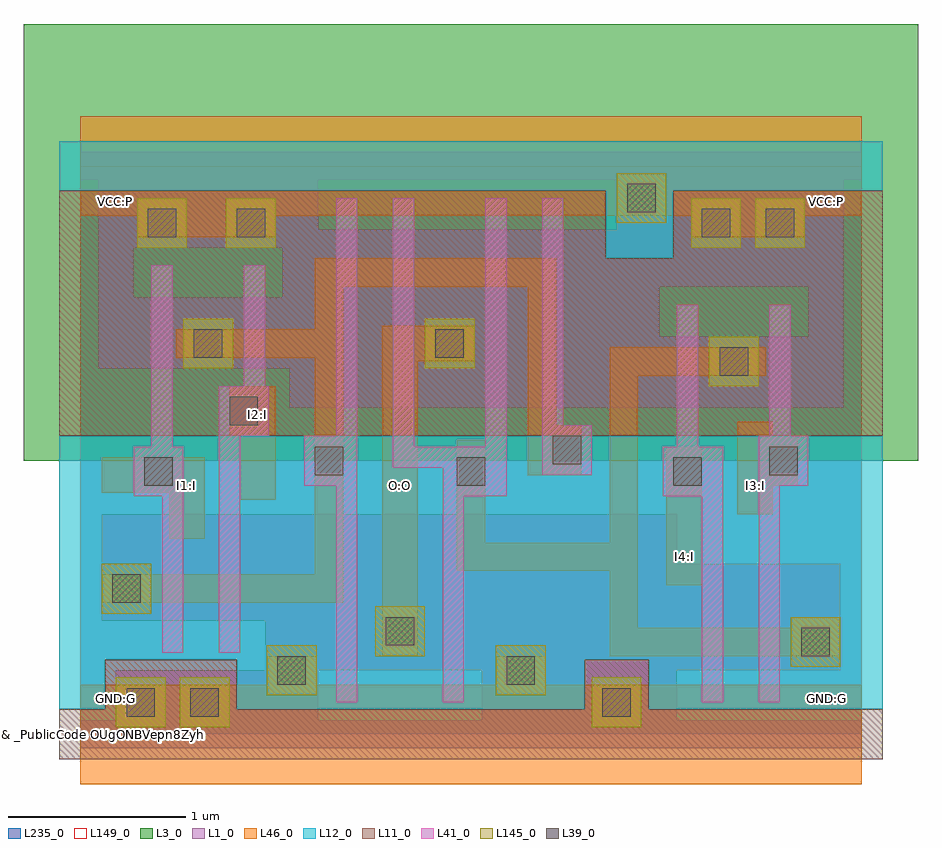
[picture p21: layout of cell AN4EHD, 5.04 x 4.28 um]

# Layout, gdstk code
from math import pi, radians
import gdstk
lib = gdstk.Library(unit=1e-6, precision=1e-09)
def R(c, l, rs):  # rectangles x0, y0, x1, y1
    for r in rs: c.add(gdstk.rectangle(r[:2], r[2:], *l))
def P(c, l, *ps):  # polygons
    for p in ps: c.add(gdstk.Polygon(p, *l))
L1_0 = (1, 0)
L3_0 = (3, 0)
L11_0 = (11, 0)
L12_0 = (12, 0)
L39_0 = (39, 0)
L41_0 = (41, 0)
L46_0 = (46, 0)
L145_0 = (145, 0)
L149_0 = (149, 0)
L235_0 = (235, 0)

c_mc = lib.new_cell('MC')
R(c_mc, L39_0, [(-0.08,-0.08,0.08,0.08)])
R(c_mc, L46_0, [(-0.08,-0.14,0.08,0.14)])
R(c_mc, L145_0, [(-0.14,-0.14,0.14,0.14)])

c_pc = lib.new_cell('PC')
R(c_pc, L39_0, [(-0.08,-0.08,0.08,0.08)])
R(c_pc, L41_0, [(-0.14,-0.14,0.14,0.14)])
R(c_pc, L46_0, [(-0.08,-0.14,0.08,0.14)])

ailenmajaad__41gum4xw0 = lib.new_cell('AILENMAJAAD$$41Gum4XW0')
R(ailenmajaad__41gum4xw0, L1_0, [(0,-0.08,4.4,0.08), (0.2,0.08,1.04,0.36), (3.36,0.36,4.28,0.96), (0,3.12,4.4,3.28)])
P(ailenmajaad__41gum4xw0, L1_0, [(3.36,1.24),(0.12,1.24),(0.12,0.64),(1.04,0.64),(1.04,0.08),(1.34,0.08),(1.34,0.36),(2.26,0.36),(2.26,0.08),(3.36,0.08)],
  [(4.3,3.12),(4.1,3.12),(4.1,2.24),(3.26,2.24),(3.26,2.52),(4.1,2.52),(4.1,3.12),(3.02,3.12),(3.02,2.84),(1.34,2.84),(1.34,3.12),(1.14,3.12),(1.14,2.46),(0.3,2.46),(0.3,2.74),(1.14,2.74),(1.14,3.12),(0.1,3.12),(0.1,2.06),(1.18,2.06),(1.18,1.84),(4.3,1.84)])
R(ailenmajaad__41gum4xw0, L3_0, [(-0.32,1.54,4.72,4)])
R(ailenmajaad__41gum4xw0, L11_0, [(-0.12,-0.14,4.52,0.14), (0.14,0.14,0.88,0.42), (2.84,0.14,3.2,0.42)])
P(ailenmajaad__41gum4xw0, L11_0, [(4.52,3.06),(3.34,3.06),(3.34,2.68),(2.96,2.68),(2.96,3.06),(-0.12,3.06),(-0.12,1.68),(4.52,1.68)])
P(ailenmajaad__41gum4xw0, L12_0, [(4.52,1.68),(-0.12,1.68),(-0.12,0.14),(0.14,0.14),(0.14,0.42),(0.88,0.42),(0.88,0.14),(2.84,0.14),(2.84,0.42),(3.2,0.42),(3.2,0.14),(4.52,0.14)],
  [(4.52,3.34),(-0.12,3.34),(-0.12,3.06),(2.96,3.06),(2.96,2.68),(3.34,2.68),(3.34,3.06),(4.52,3.06)])
R(ailenmajaad__41gum4xw0, L46_0, [(4,0.44,4.28,0.66), (0.32,2.8,1.1,2.92), (3.44,2.8,4.08,2.92)])
R(ailenmajaad__41gum4xw0, L149_0, [(0,0,4.4,3.2)])
R(ailenmajaad__41gum4xw0, L235_0, [(0,0,4.4,3.2), (0,0,4.4,3.2), (0,0,4.4,3.2), (0,0,4.4,3.2), (0,0,4.4,3.2), (0,0,4.4,3.2), (0,0,4.4,3.2), (0,0,4.4,3.2), (0,0,4.4,3.2), (0,0,4.4,3.2), (0,0,4.4,3.2), (0,0,4.4,3.2)])
ailenmajaad__41gum4xw0.add(gdstk.FlexPath([(0.12,1.46),(0.7,1.46)], 0.2, ends="flush", simple_path=True, layer=46, datatype=0))  # L46_0
ailenmajaad__41gum4xw0.add(gdstk.FlexPath([(0,0),(4.4,0)], 0.56, ends="flush", simple_path=True, layer=46, datatype=0))  # L46_0
ailenmajaad__41gum4xw0.add(gdstk.FlexPath([(0,3.2),(4.4,3.2)], 0.56, ends="flush", simple_path=True, layer=46, datatype=0))  # L46_0
ailenmajaad__41gum4xw0.add(gdstk.FlexPath([(3.4,0.84),(3.4,1.62)], 0.2, ends="flush", simple_path=True, layer=46, datatype=0))  # L46_0
ailenmajaad__41gum4xw0.add(gdstk.FlexPath([(3.8,1.24),(3.8,1.76)], 0.2, ends="flush", simple_path=True, layer=46, datatype=0))  # L46_0
ailenmajaad__41gum4xw0.add(gdstk.FlexPath([(2.2,1.66),(2.2,1),(3.06,1),(3.06,0.52),(4.28,0.52)], 0.16, ends="flush", simple_path=True, layer=46, datatype=0))  # L46_0
ailenmajaad__41gum4xw0.add(gdstk.FlexPath([(1.4,2.12),(1.4,2.6),(2.6,2.6),(2.6,1.46)], 0.16, ends="flush", simple_path=True, layer=46, datatype=0))  # L46_0
ailenmajaad__41gum4xw0.add(gdstk.FlexPath([(1,1.32),(1,1.96)], 0.2, ends="flush", simple_path=True, layer=46, datatype=0))  # L46_0
ailenmajaad__41gum4xw0.add(gdstk.FlexPath([(0.6,1.1),(0.6,1.56)], 0.2, ends="flush", simple_path=True, layer=46, datatype=0))  # L46_0
ailenmajaad__41gum4xw0.add(gdstk.FlexPath([(2.22,2.2),(1.8,2.2),(1.8,0.44)], 0.2, ends="flush", simple_path=True, layer=46, datatype=0))  # L46_0
ailenmajaad__41gum4xw0.add(gdstk.FlexPath([(3.86,2.1),(3.06,2.1),(3.06,0.92)], 0.16, ends="flush", simple_path=True, layer=46, datatype=0))  # L46_0
ailenmajaad__41gum4xw0.add(gdstk.FlexPath([(0.54,2.2),(1.4,2.2),(1.4,0.82),(0.12,0.82)], 0.16, ends="flush", simple_path=True, layer=46, datatype=0))  # L46_0
ailenmajaad__41gum4xw0.add(gdstk.FlexPath([(0.2,0),(0.2,3.2)], 0, ends="flush", simple_path=True, layer=145, datatype=0))  # L145_0
ailenmajaad__41gum4xw0.add(gdstk.FlexPath([(0.6,0),(0.6,3.2)], 0, ends="flush", simple_path=True, layer=145, datatype=0))  # L145_0
ailenmajaad__41gum4xw0.add(gdstk.FlexPath([(1,0),(1,3.2)], 0, ends="flush", simple_path=True, layer=145, datatype=0))  # L145_0
ailenmajaad__41gum4xw0.add(gdstk.FlexPath([(1.4,0),(1.4,3.2)], 0, ends="flush", simple_path=True, layer=145, datatype=0))  # L145_0
ailenmajaad__41gum4xw0.add(gdstk.FlexPath([(1.8,0),(1.8,3.2)], 0, ends="flush", simple_path=True, layer=145, datatype=0))  # L145_0
ailenmajaad__41gum4xw0.add(gdstk.FlexPath([(2.2,0),(2.2,3.2)], 0, ends="flush", simple_path=True, layer=145, datatype=0))  # L145_0
ailenmajaad__41gum4xw0.add(gdstk.FlexPath([(2.6,0),(2.6,3.2)], 0, ends="flush", simple_path=True, layer=145, datatype=0))  # L145_0
ailenmajaad__41gum4xw0.add(gdstk.FlexPath([(3,0),(3,3.2)], 0, ends="flush", simple_path=True, layer=145, datatype=0))  # L145_0
ailenmajaad__41gum4xw0.add(gdstk.FlexPath([(3.4,0),(3.4,3.2)], 0, ends="flush", simple_path=True, layer=145, datatype=0))  # L145_0
ailenmajaad__41gum4xw0.add(gdstk.FlexPath([(3.8,0),(3.8,3.2)], 0, ends="flush", simple_path=True, layer=145, datatype=0))  # L145_0
ailenmajaad__41gum4xw0.add(gdstk.FlexPath([(4.2,0),(4.2,3.2)], 0, ends="flush", simple_path=True, layer=145, datatype=0))  # L145_0
ailenmajaad__41gum4xw0.add(gdstk.FlexPath([(0,0.2),(4.4,0.2)], 0, ends="flush", simple_path=True, layer=145, datatype=0))  # L145_0
ailenmajaad__41gum4xw0.add(gdstk.FlexPath([(0,0.6),(4.4,0.6)], 0, ends="flush", simple_path=True, layer=145, datatype=0))  # L145_0
ailenmajaad__41gum4xw0.add(gdstk.FlexPath([(0,1),(4.4,1)], 0, ends="flush", simple_path=True, layer=145, datatype=0))  # L145_0
ailenmajaad__41gum4xw0.add(gdstk.FlexPath([(0,1.4),(4.4,1.4)], 0, ends="flush", simple_path=True, layer=145, datatype=0))  # L145_0
ailenmajaad__41gum4xw0.add(gdstk.FlexPath([(0,1.8),(4.4,1.8)], 0, ends="flush", simple_path=True, layer=145, datatype=0))  # L145_0
ailenmajaad__41gum4xw0.add(gdstk.FlexPath([(0,2.2),(4.4,2.2)], 0, ends="flush", simple_path=True, layer=145, datatype=0))  # L145_0
ailenmajaad__41gum4xw0.add(gdstk.FlexPath([(0,2.6),(4.4,2.6)], 0, ends="flush", simple_path=True, layer=145, datatype=0))  # L145_0
ailenmajaad__41gum4xw0.add(gdstk.FlexPath([(0,3),(4.4,3)], 0, ends="flush", simple_path=True, layer=145, datatype=0))  # L145_0
ailenmajaad__41gum4xw0.add(gdstk.FlexPath([(0.98,2.64),(0.98,1.9),(0.84,1.9),(0.84,0.46)], 0.12, ends="flush", simple_path=True, layer=41, datatype=0))  # L41_0
ailenmajaad__41gum4xw0.add(gdstk.FlexPath([(3.42,2.42),(3.42,1.56),(3.56,1.56),(3.56,0.18)], 0.12, ends="flush", simple_path=True, layer=41, datatype=0))  # L41_0
ailenmajaad__41gum4xw0.add(gdstk.FlexPath([(3.94,2.42),(3.94,1.62),(3.88,1.62),(3.88,0.18)], 0.12, ends="flush", simple_path=True, layer=41, datatype=0))  # L41_0
ailenmajaad__41gum4xw0.add(gdstk.FlexPath([(1.82,3.02),(1.82,1.56),(2.1,1.56),(2.1,0.18)], 0.12, ends="flush", simple_path=True, layer=41, datatype=0))  # L41_0
ailenmajaad__41gum4xw0.add(gdstk.FlexPath([(2.66,1.56),(2.66,3.02)], 0.12, ends="flush", simple_path=True, layer=41, datatype=0))  # L41_0
ailenmajaad__41gum4xw0.add(gdstk.FlexPath([(2.34,1.34),(2.34,3.02)], 0.12, ends="flush", simple_path=True, layer=41, datatype=0))  # L41_0
ailenmajaad__41gum4xw0.add(gdstk.FlexPath([(0.46,2.64),(0.46,1.5),(0.52,1.5),(0.52,0.46)], 0.12, ends="flush", simple_path=True, layer=41, datatype=0))  # L41_0
ailenmajaad__41gum4xw0.add(gdstk.FlexPath([(1.5,0.18),(1.5,3.02)], 0.12, ends="flush", simple_path=True, layer=41, datatype=0))  # L41_0
r = gdstk.Reference(c_mc, (0.46,2.88), rotation=pi/2); r.repetition = gdstk.Repetition(1, 1, v1=(0,0.28), v2=(-0.32,0)); ailenmajaad__41gum4xw0.add(r)
r = gdstk.Reference(c_mc, (0.26,0.82), rotation=pi/2); r.repetition = gdstk.Repetition(1, 1, v1=(0,0.28), v2=(-0.32,0)); ailenmajaad__41gum4xw0.add(r)
r = gdstk.Reference(c_mc, (1.8,0.58)); r.repetition = gdstk.Repetition(1, 1, v1=(0.28,0), v2=(0,0.32)); ailenmajaad__41gum4xw0.add(r)
r = gdstk.Reference(c_mc, (0.96,2.88), rotation=pi/2); r.repetition = gdstk.Repetition(1, 1, v1=(0,0.28), v2=(-0.32,0)); ailenmajaad__41gum4xw0.add(r)
r = gdstk.Reference(c_mc, (0.7,0.18), rotation=pi/2); r.repetition = gdstk.Repetition(1, 1, v1=(0,0.28), v2=(-0.32,0)); ailenmajaad__41gum4xw0.add(r)
r = gdstk.Reference(c_mc, (1.19,0.36), rotation=pi/2); r.repetition = gdstk.Repetition(1, 1, v1=(0,0.28), v2=(-0.32,0)); ailenmajaad__41gum4xw0.add(r)
r = gdstk.Reference(c_mc, (0.34,0.18), rotation=pi/2); r.repetition = gdstk.Repetition(1, 1, v1=(0,0.28), v2=(-0.32,0)); ailenmajaad__41gum4xw0.add(r)
r = gdstk.Reference(c_mc, (2.08,2.2), rotation=pi/2); r.repetition = gdstk.Repetition(1, 1, v1=(0,0.28), v2=(-0.32,0)); ailenmajaad__41gum4xw0.add(r)
r = gdstk.Reference(c_mc, (4.14,0.52), rotation=pi/2, x_reflection=True); r.repetition = gdstk.Repetition(1, 1, v1=(0,0.28), v2=(0.32,0)); ailenmajaad__41gum4xw0.add(r)
r = gdstk.Reference(c_mc, (3.58,2.88), rotation=pi/2, x_reflection=True); r.repetition = gdstk.Repetition(1, 1, v1=(0,0.28), v2=(0.32,0)); ailenmajaad__41gum4xw0.add(r)
r = gdstk.Reference(c_mc, (3.16,3.02), rotation=pi/2, x_reflection=True); r.repetition = gdstk.Repetition(1, 1, v1=(0,0.28), v2=(0.32,0)); ailenmajaad__41gum4xw0.add(r)
r = gdstk.Reference(c_mc, (2.48,0.36), rotation=pi/2, x_reflection=True); r.repetition = gdstk.Repetition(1, 1, v1=(0,0.28), v2=(0.32,0)); ailenmajaad__41gum4xw0.add(r)
r = gdstk.Reference(c_mc, (3.02,0.18), rotation=pi/2); r.repetition = gdstk.Repetition(1, 1, v1=(0,0.28), v2=(-0.32,0)); ailenmajaad__41gum4xw0.add(r)
r = gdstk.Reference(c_mc, (3.68,2.1), rotation=pi/2); r.repetition = gdstk.Repetition(1, 1, v1=(0,0.28), v2=(-0.32,0)); ailenmajaad__41gum4xw0.add(r)
r = gdstk.Reference(c_mc, (0.72,2.2), rotation=pi/2); r.repetition = gdstk.Repetition(1, 1, v1=(0,0.28), v2=(-0.32,0)); ailenmajaad__41gum4xw0.add(r)
r = gdstk.Reference(c_mc, (3.94,2.88), rotation=pi/2, x_reflection=True); r.repetition = gdstk.Repetition(1, 1, v1=(0,0.28), v2=(0.32,0)); ailenmajaad__41gum4xw0.add(r)
r = gdstk.Reference(c_pc, (0.44,1.48), rotation=pi/2); r.repetition = gdstk.Repetition(1, 1, v1=(0,0.28), v2=(-0.32,0)); ailenmajaad__41gum4xw0.add(r)
r = gdstk.Reference(c_pc, (1.4,1.54)); r.repetition = gdstk.Repetition(1, 1, v1=(0.28,0), v2=(0,0.32)); ailenmajaad__41gum4xw0.add(r)
r = gdstk.Reference(c_pc, (2.74,1.6), rotation=pi, x_reflection=True); r.repetition = gdstk.Repetition(1, 1, v1=(-0.28,0), v2=(0,0.32)); ailenmajaad__41gum4xw0.add(r)
r = gdstk.Reference(c_pc, (3.96,1.54)); r.repetition = gdstk.Repetition(1, 1, v1=(0.28,0), v2=(0,0.32)); ailenmajaad__41gum4xw0.add(r)
r = gdstk.Reference(c_pc, (2.2,1.48), rotation=pi, x_reflection=True); r.repetition = gdstk.Repetition(1, 1, v1=(-0.28,0), v2=(0,0.32)); ailenmajaad__41gum4xw0.add(r)
r = gdstk.Reference(c_pc, (3.42,1.48), rotation=pi, x_reflection=True); r.repetition = gdstk.Repetition(1, 1, v1=(-0.28,0), v2=(0,0.32)); ailenmajaad__41gum4xw0.add(r)
r = gdstk.Reference(c_pc, (0.92,1.82)); r.repetition = gdstk.Repetition(1, 1, v1=(0.28,0), v2=(0,0.32)); ailenmajaad__41gum4xw0.add(r)
ailenmajaad__41gum4xw0.add(gdstk.Label('#Id:7JQJaQKD4XF6RXVVPbbFNLABMd9CZLLaK99JL0306AKC574:4A3EOSP8MXXWHY99T6WBH22210RAL9', (0.02,0.02), layer=147, texttype=0))
ailenmajaad__41gum4xw0.add(gdstk.Label('AN4EHD', (0,0), layer=144, texttype=0))
ailenmajaad__41gum4xw0.add(gdstk.Label('VCC:P', (0.2,3), layer=101, texttype=0))
ailenmajaad__41gum4xw0.add(gdstk.Label('VCC:P', (4.2,3), layer=101, texttype=0))
ailenmajaad__41gum4xw0.add(gdstk.Label('GND:G', (0.2,0.2), layer=101, texttype=0))
ailenmajaad__41gum4xw0.add(gdstk.Label('GND:G', (4.2,0.2), layer=101, texttype=0))
ailenmajaad__41gum4xw0.add(gdstk.Label('I4:I', (3.4,1), layer=101, texttype=0))
ailenmajaad__41gum4xw0.add(gdstk.Label('I3:I', (3.8,1.4), layer=101, texttype=0))
ailenmajaad__41gum4xw0.add(gdstk.Label('O:O', (1.8,1.4), layer=101, texttype=0))
ailenmajaad__41gum4xw0.add(gdstk.Label('I2:I', (1,1.8), layer=101, texttype=0))
ailenmajaad__41gum4xw0.add(gdstk.Label('I1:I', (0.6,1.4), layer=101, texttype=0))

an4ehd = lib.new_cell('AN4EHD')
R(an4ehd, L149_0, [(0,0,4.4,3.2)])
an4ehd.add(gdstk.Reference(ailenmajaad__41gum4xw0, (0,0)))
an4ehd.add(gdstk.Label('& _PublicCode OUgONBVepn8Zyhuhb7nzKSFGv0ozQ4p7', (0,0), layer=3, texttype=0))
an4ehd.add(gdstk.Label('& Metric 14.08', (0,0), layer=3, texttype=0))
an4ehd.add(gdstk.Label('& Version 2009Q1V3.0', (0,0), layer=3, texttype=0))
an4ehd.add(gdstk.Label('& Product FSC0H_D_GENERIC_CORE', (0,0), layer=3, texttype=0))
an4ehd.add(gdstk.Label('& Vendor Faraday_Technology_Corp.', (0,0), layer=3, texttype=0))
an4ehd.add(gdstk.Label('#Id:7JQJaQKD4XF6RXVVPbbFNLABMd9CZLLaK99JL0306AKC574:4A3EOSP8MXXWHY99T6WBH22210RAL9', (0.02,0.02), layer=147, texttype=0))
an4ehd.add(gdstk.Label('AN4EHD', (0,0), layer=144, texttype=0))
an4ehd.add(gdstk.Label('VCC:P', (0.2,3), layer=101, texttype=0))
an4ehd.add(gdstk.Label('VCC:P', (4.2,3), layer=101, texttype=0))
an4ehd.add(gdstk.Label('GND:G', (0.2,0.2), layer=101, texttype=0))
an4ehd.add(gdstk.Label('GND:G', (4.2,0.2), layer=101, texttype=0))
an4ehd.add(gdstk.Label('I4:I', (3.4,1), layer=101, texttype=0))
an4ehd.add(gdstk.Label('I3:I', (3.8,1.4), layer=101, texttype=0))
an4ehd.add(gdstk.Label('O:O', (1.8,1.4), layer=101, texttype=0))
an4ehd.add(gdstk.Label('I2:I', (1,1.8), layer=101, texttype=0))
an4ehd.add(gdstk.Label('I1:I', (0.6,1.4), layer=101, texttype=0))

lib.write_gds('AN4EHD.gds')
